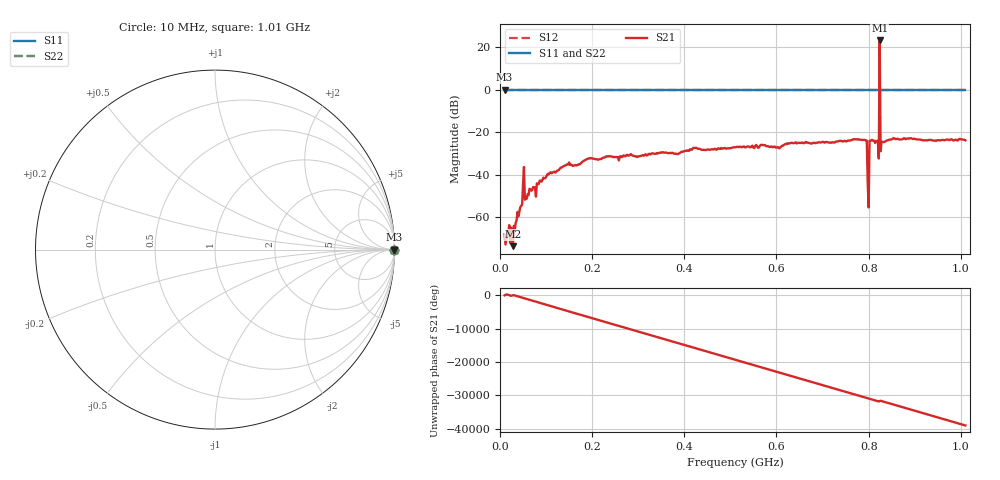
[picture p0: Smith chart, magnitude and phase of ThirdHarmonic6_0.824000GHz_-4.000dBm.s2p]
! 8/16/2025 3:22:25 AM
! C:\ANRITSUVNA\TEMP\TEMP.S2P
! CHANNEL.1
! TR.MEASUREMENT
! RAW.DATA
! RF.CORRECTION.OFF
! AVERAGING.OFF
! IF.BANDWIDTH: 5KHZ
! SWEEPTYPE:  FREQ.SWEEP(Linear)
! Reference Plane Port Info
! PORT:  PORT1  PORT2
! DISTANCE:  0  m  0  m
! TIME:  0  s  0  s
! PHASE.OFFSET:  0  deg.  0  deg.
! LOSS:  0  dB  0  dB
! REF.LOSS:  0  dB  0  dB
! REF.FREQ:  0  Hz  0  Hz
! Power Info
! POWER:  -20  dBm  -20  dBm
! EFF.POWER:  -20  dBm  -20  dBm
! SOURCE.ATTEN:  0  dB  0  dB
! TEST.ATTEN:  0  dB  0  dB
# GHZ S RI R 50.0
! FREQ.GHZ  S11RE  S11IM  S21RE  S21IM  S12RE  S12IM  S22RE  S22IM
!; PortSelection: Port_12
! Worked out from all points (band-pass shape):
!   501 points, 10 MHz to 1.01 GHz, reference 50 ohm
!   highest |S21| = 23.11 dB at 824 MHz (marker M1); lowest = -73.7 dB at 28 MHz (marker M2)
!   |S21| within 3 dB of the highest: 823.892 MHz to 824.1151 MHz (223.1 kHz wide, 0.0271 % of centre)
!   lowest |S11| = 0.0 dB at 10 MHz (marker M3)
!   |S11| at or under -10 dB: nowhere
!   |S22| runs from 0.0 to 0.0 dB; largest |S21 - S12| = 13
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0.01  1 0  0.000317 0.000238  1 0  1 0
0.028  1 0  4.1e-05 0.000203  1 0  1 0
0.048  1 0  0.000458 0.00189  1 0  1 0
0.054  1 0  -0.00257 -3.77e-05  1 0  1 0
0.058  1 0  0.00253 0.000929  1 0  1 0
0.106  1 0  -0.00708 -0.00728  1 0  1 0
0.178  1 0  -0.0191 -0.00507  1 0  1 0
0.344  1 0  0.0317 -0.00548  1 0  1 0
0.51  1 0  -0.0419 0.0121  1 0  1 0
0.678  1 0  -0.0186 -0.0517  1 0  1 0
0.792  1 0  0.0593 -0.0273  1 0  1 0
0.796  1 0  -0.0625 0.00765  1 0  1 0
0.8  1 0  0.00166 0.000296  1 0  1 0
0.802  1 0  0.0245 -0.0575  1 0  1 0
0.806  1 0  -0.0442 0.0468  1 0  1 0
0.818  1 0  0.0594 0.0123  1 0  1 0
0.82  1 0  0.0223 -0.0586  1 0  1 0
0.824  1 0  13.1 -5.752  1 0  1 0
0.828  1 0  0.0505 -0.0298  1 0  1 0
0.83  1 0  -0.0203 -0.0555  1 0  1 0
0.844  1 0  0.0405 0.0516  1 0  1 0
1.01  1 0  -0.0586 -0.0254  1 0  1 0
